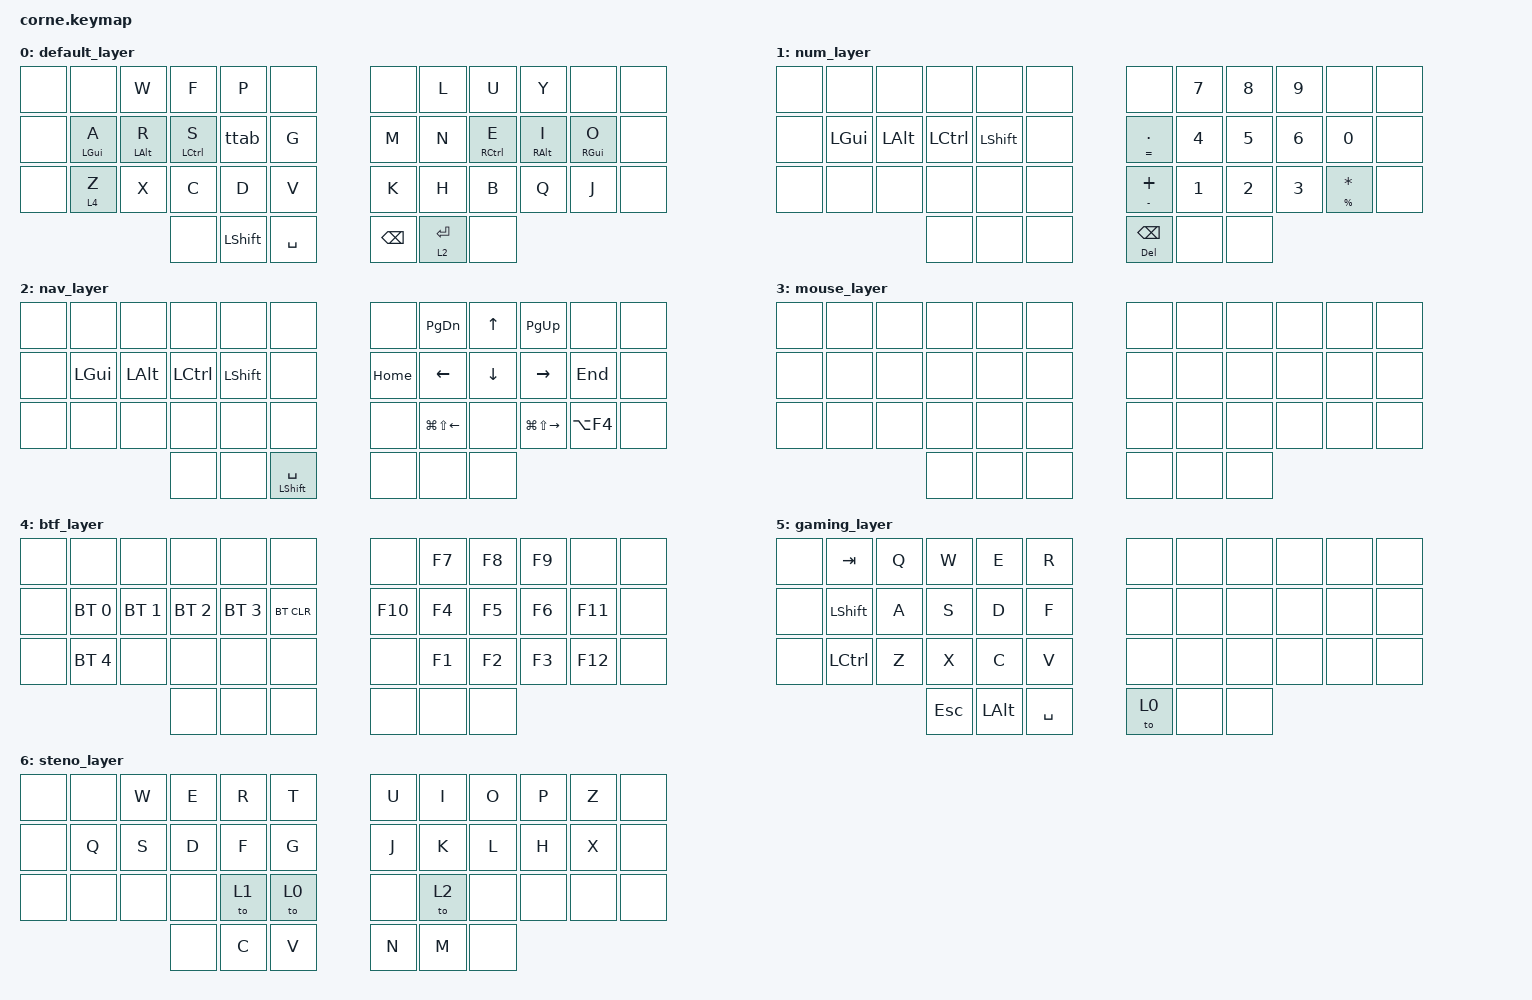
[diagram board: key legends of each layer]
/*
 * Copyright (c) 2020 The ZMK Contributors
 *
 * SPDX-License-Identifier: MIT
 */

#include <behaviors.dtsi>
#include <dt-bindings/zmk/keys.h>
#include <dt-bindings/zmk/bt.h>

&mt {
    tapping-term-ms = <200>;
    flavor = "tap-preferred";
    quick_tap_ms = <150>;
};

/ {
    behaviors {
        ht: hold_tap{
            compatible = "zmk,behavior-hold-tap";
            label = "HOLD_TAP";
            #binding-cells = <2>;
            tapping-term-ms = <150>;
            quick_tap_ms = <0>;
            flavor = "tap-preferred";
            bindings = <&kp>, <&kp>;
        };
        ttab: t_tab{
            compatible = "zmk,behavior-mod-morph";
            label = "T_TAB";
            #binding-cells = <0>;
            bindings = <&lt 1 T>, <&kp TAB>;
            mods = <MOD_LALT>;                
        };
    };
    
    /* Combo Placement
  ╭────────────────────────╮ ╭────────────────────────╮
  │  0   1   2   3   4   5 │ │  6   7   8   9  10  11 │
  │ 12  13  14  15  16  17 │ │ 18  19  20  21  22  23 │
  │ 24  25  26  27  28  29 │ │ 30  31  32  33  34  35 │
  ╰───────────╮ 36  37  38 │ │ 39  40  41 ╭───────────╯
              ╰────────────╯ ╰────────────╯*/

    combos {
        compatible = "zmk,combos";

        //Punctuation
        combo_sqt_grave{
            timeout-ms = <20>;
            key-positions = <19 20>;
            bindings = <&ht GRAVE SQT>;
            layers = <0>;
        };
        combo_dqt_at{
            timeout-ms = <20>;
            key-positions = <20 21>;
            bindings = <&ht DQT AT>;
            layers = <0>;
        };
        combo_colons{
            timeout-ms = <20>;
            key-positions = <19 21>;
            bindings = <&ht LS(SEMI) SEMI>;
            layers = <0>;
        }; 
        combo_comma_hash{
            timeout-ms = <20>;
            key-positions = <27 28>;
            bindings = <&ht NON_US_HASH COMMA>;
            layers = <0>;
        };
        combo_period_exca{
            timeout-ms = <20>;
            key-positions = <31 32>;
            bindings = <&ht EXCL DOT>;
            layers = <0>;
        };

        //functions
        combo_tab{
            timeout-ms = <20>;
            key-positions = <15 16>;
            bindings = <&kp TAB>;
            layers = <0>;
        };
        combo_esc{
            timeout-ms = <20>;
            key-positions = <14 15>;
            bindings = <&kp ESC>;
            layers = <0>;
        };
        /*combo_enter{
            timeout-ms = <20>;
            key-positions = <19 21>;
            bindings = <&kp ENTER>;
            layers = <0>;
        };*/

        //Brackets
        combo_paren{
            timeout-ms = <20>;
            key-positions = <3 4>;
            bindings = <&ht RPAR LPAR>;
            layers = <0>;
        };
        combo_brace{
            timeout-ms = <20>;
            key-positions = <2 3>;
            bindings = <&ht RBRC LBRC>;
            layers = <0>;
        };
        combo_brack{
            timeout-ms = <20>;
            key-positions = <2 4>;
            bindings = <&ht RBKT LBKT>;
            layers = <0>;
        };
    
        //Math
        combo_equals_under{
            timeout-ms = <20>;
            key-positions = <7 8>;
            bindings = <&ht UNDER EQUAL>;
            layers = <0>;
        };
        combo_plus_min{
            timeout-ms = <20>;
            key-positions = <8 9>;
            bindings = <&ht MINUS KP_PLUS>;
            layers = <0>;
        };
        combo_times_div{
            timeout-ms = <20>;
            key-positions = <7 9>;
            bindings = <&ht PRCNT STAR>;
            layers = <0>;
        };

        //Symbols
        combo_and_pipe{
            timeout-ms = <20>;
            key-positions = <3 16>;
            bindings = <&ht PIPE2 AMPS>;
            layers = <0>;
        };
        combo_money{
            timeout-ms = <20>;
            key-positions = <19 8>;
            bindings = <&ht LS(N3) DLLR>;
            layers = <0>;
        };
        combo_slashes{
            timeout-ms = <20>;
            key-positions = <31 33>;
            bindings = <&ht NON_US_BSLH FSLH>;
            layers = <0>;
        };
        combo_tilde_caret{
            timeout-ms = <20>;
            key-positions = <26 28>;
            bindings = <&ht CARET TILDE2>;
            layers = <0>;
        };


        //Layers
        combo_gaming{
            timeout-ms = <20>;
            key-positions = <17 18>;
            bindings = <&to 5>;
            layers = <0>;
        };
        combo_steno{
            timeout-ms = <20>;
            key-positions = <1 10>;
            bindings = <&to 6>;
            layers = <0>;
        };
        combo_game_esc{
            timeout-ms = <20>;
            key-positions = <26 27>;
            bindings = <&kp ESC>;
            layers = <5>;
        };
    };

    keymap {
        compatible = "zmk,keymap";

        default_layer {
            bindings = <
   &none  &none      &kp W      &kp F       &kp P     &none            &none &kp L &kp U       &kp Y        &none       &none 
   &none  &mt LGUI A &mt LALT R &mt LCTRL S &ttab     &kp G            &kp M &kp N &mt RCTRL E &mt RALT I   &mt RGUI O  &none 
   &none  &lt 4 Z    &kp X      &kp C       &kp D     &kp V            &kp K &kp H &kp B       &kp Q        &kp J       &none 
                                &none       &kp LSHFT &kp SPACE        &kp BSPC  &lt 2 ENTER   &none
                        >;
                };
        num_layer {
                        bindings = <
   &none  &none    &none     &none     &none     &none              &none           &kp N7    &kp N8   &kp N9  &none          &none
   &none  &kp LGUI &kp LALT  &kp LCTRL &kp LSHFT &none              &ht EQUAL DOT   &kp N4    &kp N5   &kp N6  &kp N0        &none
   &none  &none    &none     &none     &none     &none              &ht MINUS PLUS  &kp N1    &kp N2   &kp N3  &ht PRCNT STAR &none
                             &none     &none     &none              &ht DEL BSPC    &none    &none
                        >;
                };
        nav_layer {
                        bindings = <
   &none &none    &none    &none     &none     &none                &none    &kp PG_DN &kp UP   &kp PG_UP &none        &none
   &none &kp LGUI &kp LALT &kp LCTRL &kp LSHFT &none                &kp HOME &kp LEFT  &kp DOWN &kp RIGHT &kp END      &none
   &none &none    &none    &none     &none     &none                &none    &kp LG(LS(LEFT)) &none     &kp LG(LS(RIGHT)) &kp LA(F4) &none
                           &none     &none &mt LSHFT SPACE          &none    &none     &none 
                        >;
                };
        mouse_layer {
                        bindings = <
   &none &none   &none   &none    &none    &none    &none   &none    &none   &none    &none  &none
   &none &none   &none   &none    &none    &none    &none   &none    &none   &none    &none  &none
   &none &none   &none   &none    &none    &none    &none   &none    &none   &none    &none  &none
                         &none    &none    &none    &none   &none    &none 
                        >;
                };
        btf_layer {
                        bindings = <
   &none &none        &none        &none        &none        &none          &none   &kp F7 &kp F8 &kp F9   &none     &none
   &none &bt BT_SEL 0 &bt BT_SEL 1 &bt BT_SEL 2 &bt BT_SEL 3 &bt BT_CLR     &kp F10 &kp F4 &kp F5 &kp F6   &kp F11   &none
   &none &bt BT_SEL 4 &none        &none        &none        &none          &none   &kp F1 &kp F2 &kp F3   &kp F12   &none
                                   &none        &none        &none          &none &none  &none
                        >;
                };
        gaming_layer {
                        bindings = <
   &none  &kp TAB   &kp Q &kp W &kp E &kp R       &none &none &none &none &none &none
   &none  &kp LSHFT &kp A &kp S &kp D &kp F       &none &none &none &none &none &none
   &none  &kp LCTRL &kp Z &kp X &kp C &kp V       &none &none &none &none &none &none
                 &kp ESC &kp LALT &kp SPACE       &to 0 &none &none
                        >;
                };
         steno_layer {
                        bindings = <
   &none  &none  &kp W &kp E &kp R &kp T          &kp U &kp I &kp O &kp P &kp Z &none
   &none  &kp Q  &kp S &kp D &kp F &kp G          &kp J &kp K &kp L &kp H &kp X &none
   &none  &none  &none &none &to 1 &to 0          &none &to 2 &none &none &none &none
                       &none &kp C &kp V          &kp N &kp M &none
                        >;
                };
        };
};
